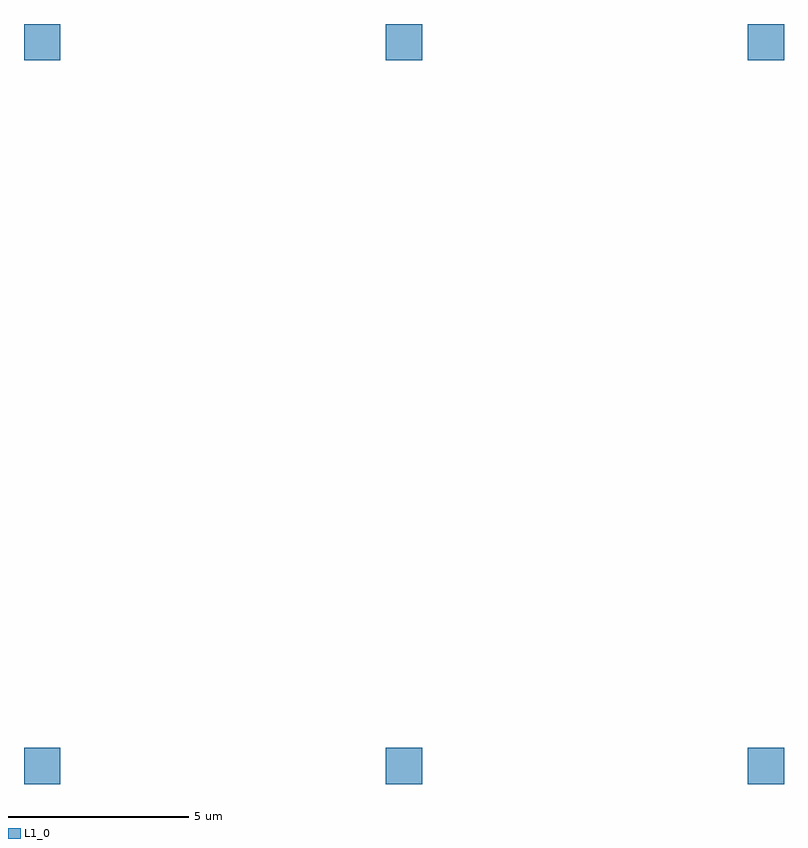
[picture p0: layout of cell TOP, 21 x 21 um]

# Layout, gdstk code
import gdstk
lib = gdstk.Library(unit=1e-6, precision=1e-09)
def R(c, l, rs):  # rectangles x0, y0, x1, y1
    for r in rs: c.add(gdstk.rectangle(r[:2], r[2:], *l))
L1_0 = (1, 0)

child = lib.new_cell('CHILD')
R(child, L1_0, [(0,0,1,1)])

top = lib.new_cell('TOP')
r = gdstk.Reference(child, (5,5)); r.repetition = gdstk.Repetition(3, 2, v1=(10,0), v2=(0,20)); top.add(r)

lib.write_gds('TOP.gds')
